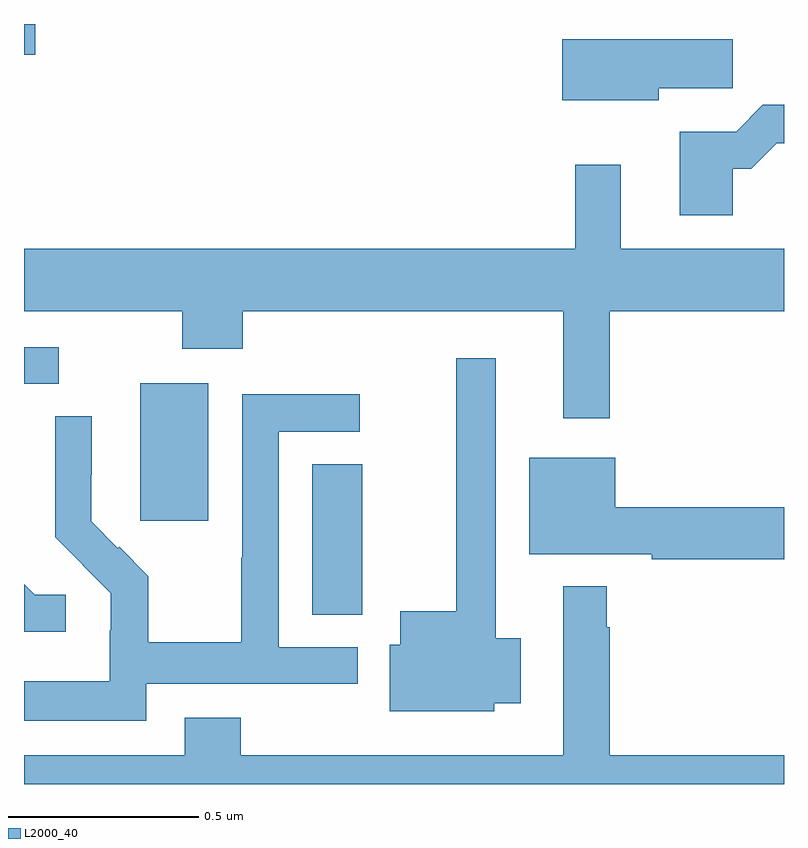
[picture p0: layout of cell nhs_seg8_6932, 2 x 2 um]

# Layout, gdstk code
import gdstk
lib = gdstk.Library(unit=1e-6, precision=1e-09)
def R(c, l, rs):  # rectangles x0, y0, x1, y1
    for r in rs: c.add(gdstk.rectangle(r[:2], r[2:], *l))
def P(c, l, *ps):  # polygons
    for p in ps: c.add(gdstk.Polygon(p, *l))
L2000_40 = (2000, 40)

nhs_seg8_6932 = lib.new_cell('nhs_seg8_6932')
R(nhs_seg8_6932, L2000_40, [(203.759,1138.345,203.89,1138.742), (203.306,1138.593,203.485,1138.954), (203,1138.953,203.092,1139.049), (203,1139.819,203.029,1139.9)])
P(nhs_seg8_6932, L2000_40, [(204.67,1139.731),(204.865,1139.731),(204.865,1139.86),(204.416,1139.86),(204.416,1139.699),(204.67,1139.699)],
  [(204.865,1139.519),(204.914,1139.519),(204.981,1139.586),(205,1139.586),(205,1139.687),(204.944,1139.687),(204.874,1139.617),(204.725,1139.617),(204.725,1139.397),(204.865,1139.397)],
  [(204.541,1139.144),(205,1139.144),(205,1139.308),(204.571,1139.308),(204.571,1139.53),(204.45,1139.53),(204.45,1139.308),(203,1139.308),(203,1139.144),(203.416,1139.144),(203.416,1139.045),(203.576,1139.045),(203.576,1139.144),(204.419,1139.144),(204.419,1138.863),(204.541,1138.863)],
  [(204.237,1138.112),(204.307,1138.112),(204.307,1138.283),(204.241,1138.283),(204.241,1139.02),(204.137,1139.02),(204.137,1138.354),(203.99,1138.354),(203.99,1138.266),(203.963,1138.266),(203.963,1138.091),(204.237,1138.091)],
  [(203.322,1138.164),(203.878,1138.164),(203.878,1138.26),(203.67,1138.26),(203.67,1138.827),(203.884,1138.827),(203.884,1138.926),(203.574,1138.926),(203.574,1138.496),(203.572,1138.496),(203.572,1138.273),(203.327,1138.273),(203.327,1138.447),(203.25,1138.524),(203.247,1138.521),(203.177,1138.592),(203.177,1138.714),(203.178,1138.714),(203.178,1138.868),(203.082,1138.868),(203.082,1138.55),(203.155,1138.477),(203.154,1138.476),(203.228,1138.402),(203.228,1138.305),(203.226,1138.305),(203.226,1138.171),(203,1138.171),(203,1138.067),(203.322,1138.067)],
  [(205,1138.628),(204.556,1138.628),(204.556,1138.759),(204.329,1138.759),(204.329,1138.505),(204.652,1138.505),(204.652,1138.492),(205,1138.492)],
  [(203.11,1138.398),(203.028,1138.398),(203,1138.426),(203,1138.301),(203.11,1138.301)],
  [(205,1137.976),(204.541,1137.976),(204.541,1138.313),(204.534,1138.313),(204.534,1138.42),(204.419,1138.42),(204.419,1137.976),(203.571,1137.976),(203.571,1138.075),(203.423,1138.075),(203.423,1137.976),(203,1137.976),(203,1137.9),(205,1137.9)])

lib.write_gds('nhs_seg8_6932.gds')
